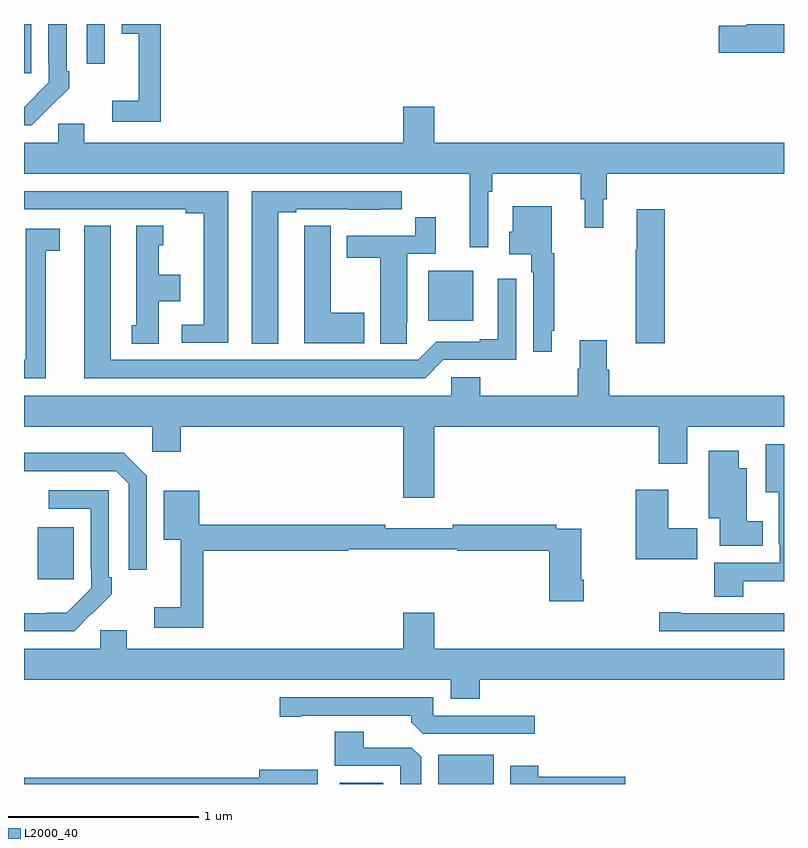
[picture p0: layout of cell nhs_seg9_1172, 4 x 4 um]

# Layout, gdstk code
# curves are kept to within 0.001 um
import gdstk
lib = gdstk.Library(unit=1e-6, precision=1e-09)
def R(c, l, rs):  # rectangles x0, y0, x1, y1
    for r in rs: c.add(gdstk.rectangle(r[:2], r[2:], *l))
def P(c, l, *ps):  # polygons
    for p in ps: c.add(gdstk.Polygon(p, *l))
L2000_40 = (2000, 40)

nhs_seg9_1172 = lib.new_cell('nhs_seg9_1172')
R(nhs_seg9_1172, L2000_40, [(176.663,1234.5,176.89,1234.507), (177.179,1234.5,177.472,1234.654), (175.073,1235.577,175.261,1235.851), (177.128,1236.938,177.364,1237.201), (175,1238.241,175.039,1238.5), (175.329,1238.292,175.425,1238.5)])
P(nhs_seg9_1172, L2000_40, [(179,1238.5),(178.805,1238.5),(178.805,1238.492),(178.656,1238.492),(178.656,1238.35),(179,1238.35)],
  [(175.133,1238.059),(175.134,1238.058),(175.239,1238.163),(175.239,1238.251),(175.224,1238.251),(175.224,1238.5),(175.128,1238.5),(175.128,1238.293),(175.131,1238.293),(175.131,1238.193),(175.003,1238.065),(175,1238.065),(175,1237.968),(175.042,1237.968)],
  [(175.721,1238.5),(175.514,1238.5),(175.514,1238.45),(175.604,1238.45),(175.604,1238.095),(175.464,1238.095),(175.464,1237.986),(175.721,1237.986)],
  [(177.444,1237.616),(177.464,1237.616),(177.464,1237.712),(177.931,1237.712),(177.931,1237.578),(177.95,1237.578),(177.95,1237.428),(178.048,1237.428),(178.048,1237.578),(178.067,1237.578),(178.067,1237.712),(179,1237.712),(179,1237.876),(177.16,1237.876),(177.16,1238.065),(176.996,1238.065),(176.996,1237.876),(175.318,1237.876),(175.318,1237.974),(175.179,1237.974),(175.179,1237.876),(175,1237.876),(175,1237.712),(177.347,1237.712),(177.347,1237.326),(177.444,1237.326)],
  [(176.074,1237.62),(175,1237.62),(175,1237.524),(175.85,1237.524),(175.85,1237.504),(175.946,1237.504),(175.946,1236.918),(175.83,1236.918),(175.83,1236.822),(176.074,1236.822)],
  [(176.338,1237.509),(176.434,1237.509),(176.434,1237.524),(176.71,1237.524),(176.71,1237.523),(176.876,1237.523),(176.876,1237.524),(176.989,1237.524),(176.989,1237.62),(176.198,1237.62),(176.198,1236.817),(176.338,1236.817)],
  [(177.778,1236.886),(177.79,1236.886),(177.79,1237.293),(177.778,1237.293),(177.778,1237.54),(177.572,1237.54),(177.572,1237.407),(177.554,1237.407),(177.554,1237.289),(177.669,1237.289),(177.669,1237.193),(177.681,1237.193),(177.681,1236.774),(177.778,1236.774)],
  [(178.373,1237.525),(178.226,1237.525),(178.226,1237.312),(178.219,1237.312),(178.219,1236.819),(178.373,1236.819)],
  [(177.015,1236.928),(177.016,1236.928),(177.016,1237.29),(177.167,1237.29),(177.167,1237.483),(177.058,1237.483),(177.058,1237.386),(176.699,1237.386),(176.699,1237.27),(176.876,1237.27),(176.876,1236.817),(177.015,1236.817)],
  [(176.791,1236.981),(176.614,1236.981),(176.614,1237.439),(176.475,1237.439),(176.475,1237.331),(176.474,1237.331),(176.474,1236.821),(176.791,1236.821)],
  [(177.207,1236.732),(177.591,1236.732),(177.591,1237.159),(177.494,1237.159),(177.494,1236.841),(177.398,1236.841),(177.398,1236.828),(177.171,1236.828),(177.075,1236.732),(175.456,1236.732),(175.456,1237.438),(175.316,1237.438),(175.316,1236.636),(177.111,1236.636)],
  [(175.708,1237.04),(175.822,1237.04),(175.822,1237.18),(175.708,1237.18),(175.708,1237.335),(175.732,1237.335),(175.732,1237.438),(175.592,1237.438),(175.592,1236.915),(175.568,1236.915),(175.568,1236.817),(175.708,1236.817)],
  [(175.114,1237.306),(175.189,1237.306),(175.189,1237.422),(175.01,1237.422),(175.01,1236.732),(175,1236.732),(175,1236.636),(175.114,1236.636)],
  [(177.16,1236.38),(178.34,1236.38),(178.34,1236.186),(178.492,1236.186),(178.492,1236.38),(179,1236.38),(179,1236.544),(178.079,1236.544),(178.079,1236.681),(178.066,1236.681),(178.066,1236.835),(177.926,1236.835),(177.926,1236.686),(177.914,1236.686),(177.914,1236.544),(177.401,1236.544),(177.401,1236.642),(177.249,1236.642),(177.249,1236.544),(175,1236.544),(175,1236.38),(175.674,1236.38),(175.674,1236.249),(175.826,1236.249),(175.826,1236.38),(176.996,1236.38),(176.996,1236.006),(177.16,1236.006)],
  [(178.786,1235.568),(179,1235.568),(179,1236.289),(178.904,1236.289),(178.904,1236.035),(178.973,1236.035),(178.973,1235.761),(178.977,1235.761),(178.977,1235.664),(178.634,1235.664),(178.634,1235.485),(178.786,1235.485)],
  [(178.888,1235.884),(178.804,1235.884),(178.804,1236.163),(178.762,1236.163),(178.762,1236.253),(178.604,1236.253),(178.604,1235.9),(178.661,1235.9),(178.661,1235.753),(178.888,1235.753)],
  [(175.647,1236.123),(175.526,1236.244),(175,1236.244),(175,1236.147),(175.485,1236.147),(175.551,1236.081),(175.551,1235.628),(175.647,1235.628)],
  [(178.543,1235.847),(178.39,1235.847),(178.39,1236.049),(178.22,1236.049),(178.22,1235.684),(178.543,1235.684)],
  [(175.355,1235.395),(175.356,1235.394),(175.461,1235.499),(175.461,1235.587),(175.446,1235.587),(175.446,1236.045),(175.131,1236.045),(175.131,1235.949),(175.35,1235.949),(175.35,1235.629),(175.353,1235.629),(175.353,1235.529),(175.225,1235.401),(175,1235.4),(175,1235.304),(175.264,1235.304)],
  [(175.943,1235.728),(176.707,1235.728),(176.707,1235.736),(177.28,1235.736),(177.28,1235.728),(177.764,1235.728),(177.764,1235.463),(177.947,1235.463),(177.947,1235.575),(177.934,1235.575),(177.934,1235.844),(177.8,1235.844),(177.8,1235.864),(177.256,1235.864),(177.256,1235.845),(176.9,1235.845),(176.9,1235.864),(175.923,1235.864),(175.923,1236.043),(175.736,1236.043),(175.736,1235.786),(175.826,1235.786),(175.826,1235.431),(175.686,1235.431),(175.686,1235.322),(175.943,1235.322)],
  [(179,1235.4),(178.456,1235.4),(178.456,1235.405),(178.344,1235.405),(178.344,1235.304),(179,1235.304)],
  [(177.398,1235.048),(179,1235.048),(179,1235.212),(177.16,1235.212),(177.16,1235.401),(176.996,1235.401),(176.996,1235.212),(175.54,1235.212),(175.54,1235.31),(175.401,1235.31),(175.401,1235.212),(175,1235.212),(175,1235.048),(177.245,1235.048),(177.245,1234.949),(177.398,1234.949)],
  [(177.688,1234.86),(177.153,1234.86),(177.153,1234.956),(176.346,1234.956),(176.346,1234.855),(176.458,1234.855),(176.458,1234.86),(177.038,1234.86),(177.038,1234.826),(177.099,1234.764),(177.688,1234.764)],
  [(177.091,1234.643),(177.042,1234.692),(176.788,1234.692),(176.788,1234.775),(176.636,1234.775),(176.636,1234.596),(176.979,1234.596),(176.979,1234.5),(177.091,1234.5)],
  [(178.165,1234.538),(177.707,1234.538),(177.707,1234.597),(177.56,1234.597),(177.56,1234.5),(178.165,1234.5)],
  [(176.545,1234.576),(176.237,1234.576),(176.237,1234.532),(175,1234.532),(175,1234.5),(176.545,1234.5)])

lib.write_gds('nhs_seg9_1172.gds')
